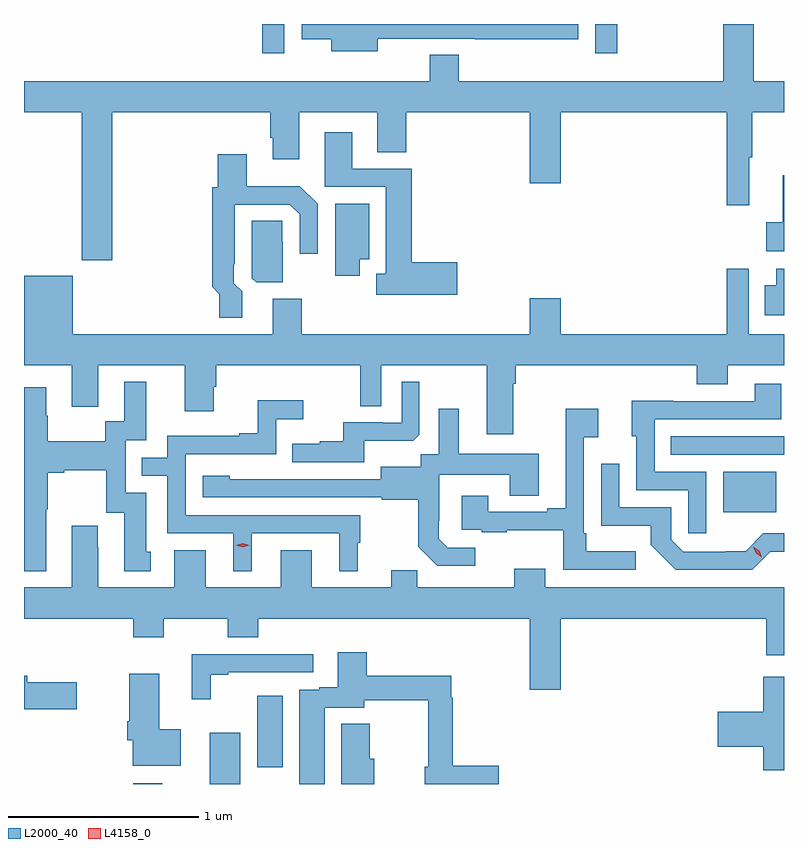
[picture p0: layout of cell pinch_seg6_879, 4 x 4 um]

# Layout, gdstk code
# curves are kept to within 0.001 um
import gdstk
lib = gdstk.Library(unit=1e-6, precision=1e-09)
def R(c, l, rs):  # rectangles x0, y0, x1, y1
    for r in rs: c.add(gdstk.rectangle(r[:2], r[2:], *l))
def P(c, l, *ps):  # polygons
    for p in ps: c.add(gdstk.Polygon(p, *l))
L2000_40 = (2000, 40)
L4158_0 = (4158, 0)

pinch_seg6_879 = lib.new_cell('pinch_seg6_879')
R(pinch_seg6_879, L2000_40, [(222.863,939.805,223.015,939.808), (223.265,939.805,223.426,940.075), (223.514,939.894,223.648,940.27), (225.968,941.234,226.246,941.449), (225.691,941.538,226.287,941.634), (223.54,943.65,223.656,943.805), (225.294,943.65,225.41,943.805)])
P(pinch_seg6_879, L2000_40, [(224.149,943.728),(224.659,943.728),(224.659,943.726),(225.205,943.726),(225.205,943.805),(223.748,943.805),(223.748,943.726),(223.904,943.726),(223.904,943.661),(224.149,943.661)],
  [(222.752,943.34),(223.583,943.34),(223.583,943.207),(223.595,943.207),(223.595,943.092),(223.735,943.092),(223.735,943.34),(224.147,943.34),(224.147,943.129),(224.3,943.129),(224.3,943.34),(224.948,943.34),(224.948,942.966),(225.112,942.966),(225.112,943.34),(225.985,943.34),(225.985,942.852),(226.103,942.852),(226.103,943.104),(226.121,943.104),(226.121,943.34),(226.287,943.34),(226.287,943.504),(226.128,943.504),(226.128,943.805),(225.968,943.805),(225.968,943.504),(224.576,943.504),(224.576,943.643),(224.423,943.643),(224.423,943.504),(222.287,943.504),(222.287,943.34),(222.592,943.34),(222.592,942.561),(222.752,942.561)],
  [(224.566,942.551),(224.327,942.551),(224.327,943.044),(224.014,943.044),(224.014,943.234),(223.871,943.234),(223.871,942.948),(224.192,942.948),(224.192,942.49),(224.14,942.49),(224.14,942.38),(224.566,942.38)],
  [(223.435,942.398),(223.392,942.441),(223.392,942.541),(223.395,942.541),(223.395,942.855),(223.686,942.855),(223.737,942.804),(223.737,942.597),(223.833,942.597),(223.833,942.858),(223.739,942.952),(223.459,942.952),(223.459,943.12),(223.307,943.12),(223.307,942.945),(223.279,942.945),(223.279,942.602),(223.277,942.602),(223.277,942.421),(223.315,942.382),(223.315,942.258),(223.435,942.258)],
  [(226.287,943.009),(226.28,943.009),(226.28,942.761),(226.194,942.761),(226.194,942.608),(226.287,942.608)],
  [(224.055,942.566),(224.104,942.566),(224.104,942.859),(223.925,942.859),(223.925,942.479),(224.055,942.479)],
  [(223.648,942.659),(223.647,942.659),(223.647,942.77),(223.485,942.77),(223.485,942.468),(223.509,942.445),(223.648,942.445)],
  [(226.287,942.517),(226.247,942.517),(226.247,942.43),(226.186,942.43),(226.186,942.272),(226.287,942.272)],
  [(224.863,941.912),(224.876,941.912),(224.876,942.008),(225.827,942.008),(225.827,941.909),(225.991,941.909),(225.991,942.008),(226.287,942.008),(226.287,942.172),(226.101,942.172),(226.101,942.517),(225.985,942.517),(225.985,942.172),(225.112,942.172),(225.112,942.361),(224.948,942.361),(224.948,942.172),(223.748,942.172),(223.748,942.36),(223.595,942.36),(223.595,942.172),(222.544,942.172),(222.544,942.481),(222.287,942.481),(222.287,942.008),(222.539,942.008),(222.539,941.79),(222.679,941.79),(222.679,942.008),(223.133,942.008),(223.133,941.766),(223.285,941.766),(223.285,941.895),(223.298,941.895),(223.298,942.008),(224.058,942.008),(224.058,941.794),(224.166,941.794),(224.166,942.008),(224.723,942.008),(224.723,941.646),(224.863,941.646)],
  [(224.077,941.612),(224.335,941.612),(224.367,941.643),(224.367,941.923),(224.274,941.923),(224.274,941.706),(224.174,941.706),(224.174,941.709),(223.967,941.709),(223.967,941.608),(223.843,941.608),(223.843,941.596),(223.699,941.596),(223.699,941.499),(224.077,941.499)],
  [(222.403,941.251),(222.411,941.251),(222.411,941.444),(222.499,941.444),(222.499,941.456),(222.719,941.456),(222.719,941.232),(222.815,941.232),(222.815,940.926),(222.955,940.926),(222.955,941.028),(222.931,941.028),(222.931,941.337),(222.822,941.337),(222.822,941.613),(222.931,941.613),(222.931,941.923),(222.815,941.923),(222.815,941.714),(222.714,941.714),(222.714,941.608),(222.411,941.608),(222.411,941.742),(222.403,941.742),(222.403,941.893),(222.287,941.893),(222.287,940.925),(222.403,940.925)],
  [(225.879,941.448),(225.606,941.448),(225.606,941.724),(226.273,941.724),(226.273,941.911),(226.133,941.911),(226.133,941.82),(225.703,941.82),(225.703,941.822),(225.485,941.822),(225.485,941.634),(225.51,941.634),(225.51,941.352),(225.783,941.352),(225.783,941.124),(225.879,941.124)],
  [(223.486,941.124),(223.946,941.124),(223.946,940.925),(224.044,940.925),(224.044,941.076),(224.056,941.076),(224.056,941.22),(223.137,941.22),(223.137,941.541),(223.614,941.541),(223.614,941.726),(223.756,941.726),(223.756,941.825),(223.516,941.825),(223.516,941.65),(223.421,941.65),(223.421,941.637),(223.041,941.637),(223.041,941.523),(222.907,941.523),(222.907,941.427),(223.041,941.427),(223.041,941.124),(223.388,941.124),(223.388,940.925),(223.486,940.925)],
  [(224.662,941.049),(224.517,941.049),(224.47,941.096),(224.47,941.191),(224.472,941.191),(224.472,941.432),(224.843,941.432),(224.843,941.323),(224.995,941.323),(224.995,941.542),(224.575,941.542),(224.575,941.779),(224.471,941.779),(224.471,941.54),(224.376,941.54),(224.376,941.476),(224.165,941.476),(224.165,941.409),(223.371,941.41),(223.371,941.428),(223.227,941.428),(223.227,941.313),(224.169,941.313),(224.169,941.301),(224.361,941.301),(224.361,941.055),(224.461,940.955),(224.662,940.955)],
  [(225.508,941.029),(225.247,941.029),(225.247,941.125),(225.234,941.125),(225.234,941.63),(225.31,941.63),(225.31,941.779),(225.137,941.779),(225.137,941.257),(225.041,941.257),(225.041,941.238),(224.731,941.238),(224.731,941.323),(224.591,941.323),(224.591,941.142),(224.695,941.142),(224.695,941.13),(224.827,941.13),(224.827,941.141),(225.126,941.141),(225.126,940.932),(225.508,940.932)],
  [(226.214,941.027),(226.287,941.027),(226.287,941.124),(226.179,941.124),(226.085,941.03),(225.98,941.03),(225.98,941.028),(225.756,941.028),(225.693,941.091),(225.693,941.262),(225.42,941.262),(225.42,941.491),(225.324,941.491),(225.324,941.165),(225.586,941.165),(225.586,941.063),(225.716,940.932),(226.119,940.932)],
  [(225.112,940.676),(226.193,940.676),(226.193,940.482),(226.287,940.482),(226.287,940.84),(225.031,940.84),(225.031,940.939),(224.867,940.939),(224.867,940.84),(224.357,940.84),(224.357,940.931),(224.219,940.931),(224.219,940.84),(223.801,940.84),(223.801,941.035),(223.637,941.035),(223.637,940.84),(223.243,940.84),(223.243,941.035),(223.079,941.035),(223.079,940.84),(222.679,940.84),(222.679,941.051),(222.676,941.051),(222.676,941.164),(222.539,941.164),(222.539,940.84),(222.287,940.84),(222.287,940.676),(222.863,940.676),(222.863,940.577),(223.023,940.577),(223.023,940.676),(223.36,940.676),(223.36,940.577),(223.52,940.577),(223.52,940.676),(224.948,940.676),(224.948,940.302),(225.112,940.302)],
  [(223.87,940.206),(224.077,940.206),(224.077,940.246),(224.415,940.246),(224.415,939.897),(224.396,939.897),(224.396,939.805),(224.785,939.805),(224.785,939.902),(224.543,939.902),(224.543,940.259),(224.536,940.259),(224.536,940.375),(224.09,940.375),(224.09,940.498),(223.937,940.498),(223.937,940.315),(223.841,940.315),(223.841,940.302),(223.736,940.302),(223.736,939.805),(223.87,939.805)],
  [(223.269,940.38),(223.363,940.38),(223.363,940.392),(223.81,940.392),(223.81,940.488),(223.169,940.488),(223.169,940.251),(223.269,940.251)],
  [(223.111,940.093),(223,940.093),(223,940.384),(222.842,940.384),(222.842,940.135),(222.83,940.135),(222.83,940.035),(222.86,940.035),(222.86,939.902),(223.111,939.902)],
  [(222.565,940.341),(222.304,940.341),(222.304,940.375),(222.287,940.375),(222.287,940.199),(222.565,940.199)],
  [(226.287,940.369),(226.178,940.369),(226.178,940.184),(225.939,940.184),(225.939,940.001),(226.178,940.001),(226.178,939.877),(226.287,939.877)],
  [(224.131,939.939),(224.106,939.939),(224.106,940.121),(223.958,940.121),(223.958,939.805),(224.131,939.805)])
P(pinch_seg6_879, L4158_0, [(226.171,940.998),(226.141,941.02),(226.125,941.054),(226.125,941.054),(226.126,941.054),(226.156,941.032),(226.171,940.998),(226.171,940.998)],
  [(223.437,941.052),(223.401,941.061),(223.401,941.061),(223.401,941.061),(223.437,941.072),(223.473,941.062),(223.473,941.062),(223.473,941.062)])

lib.write_gds('pinch_seg6_879.gds')
